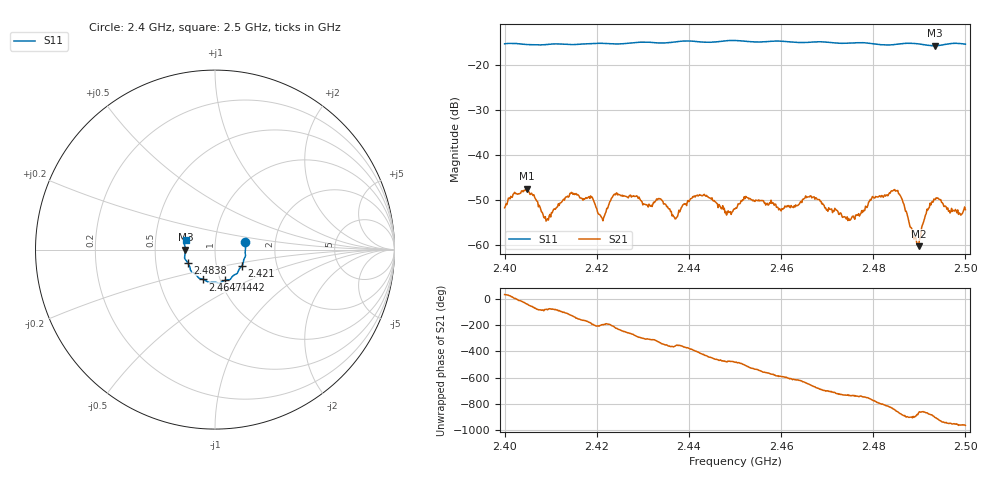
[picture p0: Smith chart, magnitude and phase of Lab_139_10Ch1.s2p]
# Hz S RI R 50
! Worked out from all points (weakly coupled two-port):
!   601 points, 2.4 GHz to 2.5 GHz, reference 50 ohm
!   highest |S21| = -47.48 dB at 2.4048 GHz (marker M1); lowest = -60.3 dB at 2.4898 GHz (marker M2)
!   lowest |S11| = -15.6 dB at 2.4933 GHz (marker M3), VSWR 1.40, Z = 35.8 + j0.0231 ohm
!   |S11| at or under -10 dB: start of sweep to end of sweep
!   S12 and S22 are empty: the file has one direction only
!   S11 on the Smith chart (normalised r, x): 2.4 GHz: 1.40, +0.12; 2.421 GHz: 1.33, -0.24; 2.4442 GHz: 1.05, -0.37; 2.4647 GHz: 0.83, -0.28; 2.4838 GHz: 0.73, -0.11; 2.5 GHz: 0.72, +0.08
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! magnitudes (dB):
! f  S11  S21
! 2.4 GHz  -15.2  -51.7
! 2.4048 GHz  -15.4  -47.5
! 2.409 GHz  -15.4  -54.7
! 2.4142 GHz  -15.4  -48.5
! 2.4167 GHz  -15.3  -49.6
! 2.421 GHz  -15.1  -53.8
! 2.4242 GHz  -15.2  -48.6
! 2.4333 GHz  -15.0  -49.7
! 2.437 GHz  -14.8  -54.2
! 2.4442 GHz  -14.9  -49.3
! 2.45 GHz  -14.5  -52.0
! 2.4525 GHz  -14.7  -49.4
! 2.46 GHz  -14.6  -52.4
! 2.4647 GHz  -14.9  -49.8
! 2.4667 GHz  -14.8  -49.5
! 2.4747 GHz  -15.1  -54.1
! 2.4833 GHz  -15.5  -48.7
! 2.4838 GHz  -15.5  -48.1
! 2.4857 GHz  -15.2  -48.7
! 2.4898 GHz  -15.2  -60.3
! 2.4933 GHz  -15.6  -49.9
! 2.5 GHz  -15.3  -52.1
